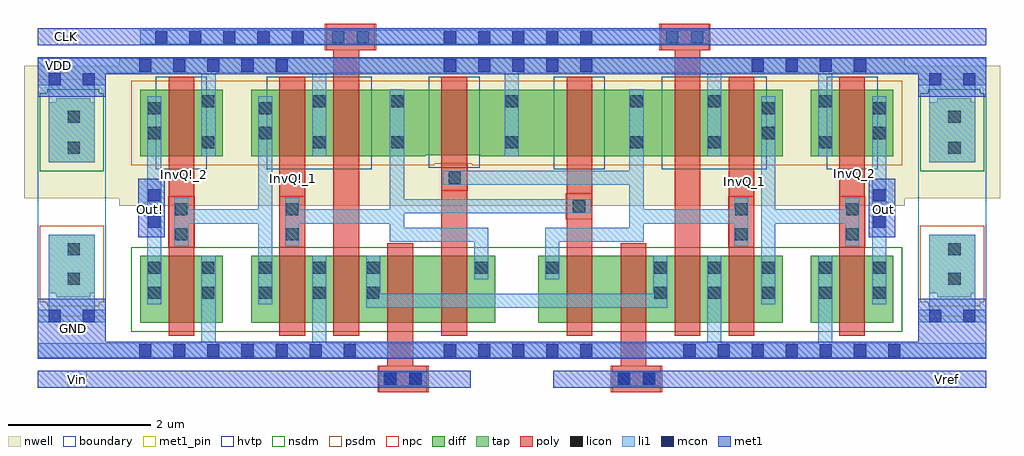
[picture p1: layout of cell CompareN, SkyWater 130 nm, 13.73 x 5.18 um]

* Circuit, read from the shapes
.subckt CompareN CLK GND InvQ!_1 InvQ!_2 InvQ_1 InvQ_2 Out Out! VDD Vin Vref
XM1 GND InvQ!_2 Out! GND sky130_fd_pr__nfet_01v8 w=0.94 l=0.36
XM2 GND InvQ!_1 InvQ!_2 GND sky130_fd_pr__nfet_01v8 w=0.94 l=0.36
XM3 n1 CLK GND GND sky130_fd_pr__nfet_01v8 w=0.94 l=0.36 m=2
XM4 n2 Vin n1 GND sky130_fd_pr__nfet_01v8 w=0.94 l=0.36
XM5 InvQ!_1 InvQ_1 n2 GND sky130_fd_pr__nfet_01v8 w=0.94 l=0.36
XM6 n3 InvQ!_1 InvQ_1 GND sky130_fd_pr__nfet_01v8 w=0.94 l=0.36
XM7 n1 Vref n3 GND sky130_fd_pr__nfet_01v8 w=0.94 l=0.36
XM8 InvQ_2 InvQ_1 GND GND sky130_fd_pr__nfet_01v8 w=0.94 l=0.36
XM9 Out InvQ_2 GND GND sky130_fd_pr__nfet_01v8 w=0.94 l=0.36
XM10 VDD InvQ!_2 Out! VDD sky130_fd_pr__pfet_01v8_hvt w=0.94 l=0.36
XM11 VDD InvQ!_1 InvQ!_2 VDD sky130_fd_pr__pfet_01v8_hvt w=0.94 l=0.36
XM12 InvQ!_1 CLK VDD VDD sky130_fd_pr__pfet_01v8_hvt w=0.94 l=0.36
XM13 VDD InvQ_1 InvQ!_1 VDD sky130_fd_pr__pfet_01v8_hvt w=0.92 l=0.36
XM14 InvQ_1 InvQ!_1 VDD VDD sky130_fd_pr__pfet_01v8_hvt w=0.94 l=0.36
XM15 VDD CLK InvQ_1 VDD sky130_fd_pr__pfet_01v8_hvt w=0.94 l=0.36
XM16 InvQ_2 InvQ_1 VDD VDD sky130_fd_pr__pfet_01v8_hvt w=0.94 l=0.36
XM17 Out InvQ_2 VDD VDD sky130_fd_pr__pfet_01v8_hvt w=0.94 l=0.36
.ends

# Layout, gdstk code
import gdstk
lib = gdstk.Library(unit=1e-6, precision=1e-09)
def R(c, l, rs):  # rectangles x0, y0, x1, y1
    for r in rs: c.add(gdstk.rectangle(r[:2], r[2:], *l))
def A(c, l, x, y, w, h, nx, ny, dx, dy):  # array of equal rectangles
    R(c, l, [(x+i*dx, y+j*dy, x+i*dx+w, y+j*dy+h) for i in range(nx) for j in range(ny)])
nwell = (64, 20)
diff = (65, 20)
tap = (65, 44)
poly = (66, 20)
licon = (66, 44)
li1 = (67, 20)
mcon = (67, 44)
met1_pin = (68, 16)
met1 = (68, 20)
hvtp = (78, 44)
nsdm = (93, 44)
psdm = (94, 20)
npc = (95, 20)
boundary = (235, 4)

tap_ = lib.new_cell('TAP')
R(tap_, nwell, [(0,1.9,1.34,3.765)])
R(tap_, tap, [(0.455,0.51,0.935,0.565), (0.345,0.565,0.995,1.39), (0.345,2.41,0.995,3.255), (0.455,3.255,0.935,3.31)])
R(tap_, licon, [(0.615,0.685,0.785,0.855), (0.615,1.1,0.785,1.27), (0.615,2.53,0.785,2.7), (0.615,2.965,0.785,3.135)])
R(tap_, li1, [(0.19,0.16,1.15,0.33), (0.345,0.33,0.995,1.39), (0.345,2.41,0.995,3.49), (0.19,3.49,1.15,3.66)])
R(tap_, mcon, [(0.345,0.16,0.515,0.33), (0.825,0.16,0.995,0.33), (0.345,3.49,0.515,3.66), (0.825,3.49,0.995,3.66)])
R(tap_, met1_pin, [(0.19,0.245,1.15,0.49), (0.19,3.33,1.15,3.575)])
R(tap_, met1, [(0.19,0,1.15,0.49), (0.19,3.33,1.15,3.82)])
R(tap_, nsdm, [(0.22,2.285,1.12,3.38), (0.33,3.38,1.06,3.435)])
R(tap_, psdm, [(0.33,0.385,1.06,0.44), (0.22,0.44,1.12,1.515)])
R(tap_, boundary, [(0.19,0.245,1.15,3.575)])
tap_.add(gdstk.Label('VDD', (0.67,3.452), layer=68, texttype=5))
tap_.add(gdstk.Label('GND', (0.67,0.367), layer=68, texttype=5))

comparen = lib.new_cell('CompareN')
R(comparen, nwell, [(-3.13,-0.95,7.925,1.125)])
R(comparen, diff, [(-2.835,-2.595,-1.675,-1.655), (-1.275,-2.595,2.165,-1.655), (2.765,-2.595,6.205,-1.655), (6.605,-2.595,7.765,-1.655), (-2.835,-0.255,-1.675,0.685), (-1.275,-0.255,1.18,-0.235), (1.96,-0.255,6.205,-0.235), (6.605,-0.255,7.765,0.685), (-1.275,-0.235,6.205,0.685)])
R(comparen, poly, [(0.525,-3.57,1.205,-3.2), (3.81,-3.57,4.49,-3.2), (0.645,-3.2,1.005,-1.475), (3.925,-3.2,4.285,-1.475), (-2.435,-2.775,-2.075,0.865), (-0.875,-2.775,-0.515,0.865), (-0.115,-2.775,0.245,1.24), (1.405,-2.775,1.765,0.865), (3.165,-2.775,3.525,0.865), (4.685,-2.775,5.045,1.24), (5.445,-2.775,5.805,0.865), (7.005,-2.775,7.365,0.865), (-0.215,1.24,0.465,1.61), (4.49,1.24,5.17,1.61)])
A(comparen, licon, -1.16, -2.255, 0.17, 0.17, 3, 2, 0.76, 0.35)
A(comparen, licon, 4.4, -2.255, 0.17, 0.17, 3, 2, 0.76, 0.35)
R(comparen, licon, [(0.605,-3.47,0.775,-3.3), (0.955,-3.47,1.125,-3.3), (3.89,-3.47,4.06,-3.3), (4.24,-3.47,4.41,-3.3), (-2.72,-2.255,-2.55,-2.085), (-1.96,-2.255,-1.79,-2.085), (6.72,-2.255,6.89,-2.085), (7.48,-2.255,7.65,-2.085), (-2.72,-1.905,-2.55,-1.735), (-1.96,-1.905,-1.79,-1.735), (1.88,-1.905,2.05,-1.735), (2.88,-1.905,3.05,-1.735), (6.72,-1.905,6.89,-1.735), (7.48,-1.905,7.65,-1.735), (-2.34,-1.435,-2.17,-1.265), (-0.78,-1.435,-0.61,-1.265), (5.54,-1.435,5.71,-1.265), (7.1,-1.435,7.27,-1.265), (-2.34,-1.085,-2.17,-0.915), (-0.78,-1.085,-0.61,-0.915), (5.54,-1.085,5.71,-0.915), (7.1,-1.085,7.27,-0.915), (3.255,-1.04,3.425,-0.87), (1.505,-0.64,1.675,-0.47), (-1.96,-0.14,-1.79,0.03), (-0.4,-0.14,-0.23,0.03), (0.695,-0.14,0.865,0.03), (2.31,-0.14,2.48,0.03), (4.065,-0.14,4.235,0.03), (5.16,-0.14,5.33,0.03), (6.72,-0.14,6.89,0.03), (-2.72,-0.01,-2.55,0.16), (-1.16,-0.01,-0.99,0.16), (5.92,-0.01,6.09,0.16), (7.48,-0.01,7.65,0.16), (-2.72,0.34,-2.55,0.51), (-1.16,0.34,-0.99,0.51), (5.92,0.34,6.09,0.51), (7.48,0.34,7.65,0.51), (-1.96,0.44,-1.79,0.61), (-0.4,0.44,-0.23,0.61), (0.695,0.44,0.865,0.61), (2.31,0.44,2.48,0.61), (4.065,0.44,4.235,0.61), (5.16,0.44,5.33,0.61), (6.72,0.44,6.89,0.61), (-0.135,1.34,0.035,1.51), (0.215,1.34,0.385,1.51), (4.57,1.34,4.74,1.51), (4.92,1.34,5.09,1.51)])
R(comparen, li1, [(0.525,-3.485,1.205,-3.285), (3.81,-3.485,4.49,-3.285), (-4.28,-3.085,9.075,-2.885), (-1.975,-2.885,-1.775,-1.655), (-0.415,-2.885,-0.215,-1.655), (5.145,-2.885,5.345,-1.655), (6.705,-2.885,6.905,-1.655), (0.345,-2.385,4.585,-2.185), (-2.735,-2.335,-2.535,0.59), (-1.175,-2.335,-0.975,-1.2), (5.905,-2.335,6.105,-1.2), (7.465,-2.335,7.665,0.59), (0.345,-2.185,0.545,-1.655), (4.385,-2.185,4.585,-1.655), (1.865,-1.985,2.065,-1.455), (2.865,-1.985,3.065,-1.455), (-2.355,-1.515,-2.155,-1.2), (-0.795,-1.515,-0.595,-1.2), (5.525,-1.515,5.725,-1.2), (7.085,-1.515,7.285,-1.2), (0.68,-1.455,2.065,-1.255), (2.865,-1.455,4.25,-1.255), (0.68,-1.255,0.88,-1.2), (4.05,-1.255,4.25,-1.2), (-2.355,-1.2,-0.975,-1), (-0.795,-1.2,0.88,-1.055), (4.05,-1.2,5.725,-1), (5.905,-1.2,7.285,-1), (-0.795,-1.055,3.505,-1), (-2.355,-1,-2.155,-0.835), (-1.175,-1,-0.975,0.59), (-0.795,-1,-0.595,-0.835), (0.68,-1,3.505,-0.855), (4.05,-1,4.25,-0.655), (5.525,-1,5.725,-0.835), (5.905,-1,6.105,0.59), (7.085,-1,7.285,-0.835), (0.68,-0.855,0.88,0.69), (1.425,-0.655,4.25,-0.455), (4.05,-0.455,4.25,0.69), (-1.975,-0.255,-1.775,0.925), (-0.415,-0.255,-0.215,0.925), (2.295,-0.255,2.495,0.925), (5.145,-0.255,5.345,0.925), (6.705,-0.255,6.905,0.925), (-4.28,0.915,-2.835,0.925), (7.76,0.915,9.07,0.925), (-4.28,0.925,9.07,1.125), (-2.835,1.325,5.17,1.525)])
A(comparen, mcon, -2.85, -3.07, 0.17, 0.17, 7, 1, 0.48, 0)
A(comparen, mcon, 1.44, -3.07, 0.17, 0.17, 5, 2, 0.48, 4.01)
A(comparen, mcon, 4.81, -3.07, 0.17, 0.17, 7, 1, 0.48, 0)
A(comparen, mcon, -2.85, 0.94, 0.17, 0.17, 5, 1, 0.48, 0)
A(comparen, mcon, 5.77, 0.94, 0.17, 0.17, 4, 1, 0.48, 0)
A(comparen, mcon, -2.625, 1.34, 0.17, 0.17, 5, 1, 0.48, 0)
A(comparen, mcon, 1.44, 1.34, 0.17, 0.17, 5, 1, 0.48, 0)
R(comparen, mcon, [(0.595,-3.47,0.765,-3.3), (0.955,-3.47,1.125,-3.3), (3.885,-3.47,4.055,-3.3), (4.245,-3.47,4.415,-3.3), (-2.72,-1.26,-2.55,-1.09), (7.48,-1.26,7.65,-1.09), (-2.72,-0.885,-2.55,-0.715), (7.48,-0.885,7.65,-0.715)])
R(comparen, met1_pin, [(-3.855,-3.51,-3.585,-3.27), (8.38,-3.51,8.65,-3.27), (-2.78,-1.09,-2.6,-0.9), (7.53,-1.09,7.71,-0.9), (-4.12,0.915,-3.845,1.125), (-4.005,1.31,-3.735,1.55)])
R(comparen, met1, [(-4.28,-3.51,1.815,-3.27), (2.98,-3.51,9.075,-3.27), (-4.28,-3.1,9.075,-2.86), (-4.28,-2.86,-3.32,-2.745), (8.115,-2.86,9.075,-2.745), (-2.86,-1.39,-2.49,-0.565), (7.42,-1.39,7.79,-0.565), (-4.28,0.9,9.075,1.14), (-4.28,1.31,9.075,1.55)])
R(comparen, hvtp, [(-2.615,-0.435,-1.895,0.865), (-1.055,-0.435,0.425,0.865), (2.985,-0.435,3.705,0.865), (4.505,-0.435,5.985,0.865), (6.825,-0.435,7.545,0.865), (1.225,-0.415,1.945,0.865)])
R(comparen, nsdm, [(-2.96,-2.72,7.89,-1.53)])
R(comparen, psdm, [(-2.96,-0.38,1.305,-0.36), (1.835,-0.38,7.89,-0.36), (-2.96,-0.36,7.89,0.81)])
R(comparen, npc, [(0.505,-3.57,1.225,-3.2), (3.79,-3.57,4.51,-3.2), (-2.44,-1.535,-2.07,-0.815), (-0.88,-1.535,-0.51,-0.815), (5.44,-1.535,5.81,-0.815), (7,-1.535,7.37,-0.815), (3.155,-1.14,3.525,-0.77), (1.405,-0.74,1.775,-0.37), (-0.235,1.24,0.485,1.61), (4.47,1.24,5.19,1.61)])
comparen.add(gdstk.Reference(tap_, (7.925,-2.745)))
comparen.add(gdstk.Reference(tap_, (-4.47,-2.745)))
comparen.add(gdstk.Label('GND', (-3.77,-2.675), layer=68, texttype=5))
comparen.add(gdstk.Label('InvQ!_1', (-0.68,-0.56), layer=66, texttype=5))
comparen.add(gdstk.Label('InvQ!_2', (-2.21,-0.51), layer=66, texttype=5))
comparen.add(gdstk.Label('InvQ_2', (7.215,-0.5), layer=66, texttype=5))
comparen.add(gdstk.Label('InvQ_1', (5.675,-0.61), layer=66, texttype=5))
comparen.add(gdstk.Label('VDD', (-3.982,1.02), layer=68, texttype=5))
comparen.add(gdstk.Label('CLK', (-3.87,1.43), layer=68, texttype=5))
comparen.add(gdstk.Label('Vin', (-3.72,-3.39), layer=68, texttype=5))
comparen.add(gdstk.Label('Vref', (8.515,-3.39), layer=68, texttype=5))
comparen.add(gdstk.Label('Out', (7.62,-0.995), layer=68, texttype=5))
comparen.add(gdstk.Label('Out!', (-2.69,-0.995), layer=68, texttype=5))

lib.write_gds('CompareN.gds')
